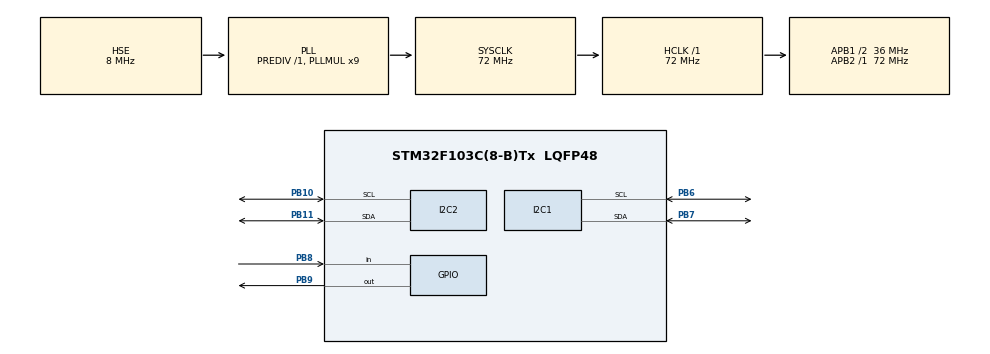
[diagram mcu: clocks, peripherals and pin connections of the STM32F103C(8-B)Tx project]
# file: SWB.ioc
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I2C1.I2C_Mode=I2C_Fast
I2C2.I2C_Mode=I2C_Fast
Mcu.Family=STM32F1
Mcu.Name=STM32F103C(8-B)Tx
Mcu.Package=LQFP48
NVIC.PriorityGroup=NVIC_PRIORITYGROUP_4
PA13.Mode=Serial_Wire
PA13.Signal=SYS_JTMS-SWDIO
PA14.Mode=Serial_Wire
PA14.Signal=SYS_JTCK-SWCLK
PB10.Mode=I2C
PB10.Signal=I2C2_SCL
PB11.Mode=I2C
PB11.Signal=I2C2_SDA
PB6.Mode=I2C
PB6.Signal=I2C1_SCL
PB7.Mode=I2C
PB7.Signal=I2C1_SDA
PB8.Signal=GPIO_Input
PB9.Signal=GPIO_Output
PD0-OSC_IN.Mode=HSE-External-Oscillator
PD0-OSC_IN.Signal=RCC_OSC_IN
PD1-OSC_OUT.Mode=HSE-External-Oscillator
PD1-OSC_OUT.Signal=RCC_OSC_OUT
ProjectManager.HeapSize=0x200
ProjectManager.StackSize=0x400
ProjectManager.TargetToolchain=STM32CubeIDE
RCC.AHBFreq_Value=72000000
RCC.APB1CLKDivider=RCC_HCLK_DIV2
RCC.APB1Freq_Value=36000000
RCC.APB1TimFreq_Value=72000000
RCC.APB2Freq_Value=72000000
RCC.APB2TimFreq_Value=72000000
RCC.HCLKFreq_Value=72000000
RCC.PLLMUL=RCC_PLL_MUL9
RCC.PLLSourceVirtual=RCC_PLLSOURCE_HSE
RCC.SYSCLKFreq_VALUE=72000000
RCC.SYSCLKSource=RCC_SYSCLKSOURCE_PLLCLK
RCC.USBFreq_Value=72000000
TIM2.Prescaler=71
VP_TIM2_VS_ClockSourceINT.Mode=Internal
board=custom

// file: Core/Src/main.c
/* USER CODE BEGIN Header */
/**
  ******************************************************************************
  * @file           : main.c
  * @brief          : Main program body
  ******************************************************************************
  * @attention
  *
  * Copyright (c) 2025 STMicroelectronics.
  * All rights reserved.
  *
  * This software is licensed under terms that can be found in the LICENSE file
  * in the root directory of this software component.
  * If no LICENSE file comes with this software, it is provided AS-IS.
  *
  ******************************************************************************
  */
/* USER CODE END Header */
#include "main.h"

/* USER CODE BEGIN Includes */
#include "i2c_lcd.h"
#include <stdio.h>   // để dùng sprintf
/* USER CODE END Includes */

/* USER CODE BEGIN PTD */
#define DS1307_I2C_ADDR 	0x68
#define DS1307_REG_SECOND 	0x00
#define DS1307_REG_MINUTE 	0x01
#define DS1307_REG_HOUR  	0x02
#define DS1307_REG_DOW    	0x03
#define DS1307_REG_DATE   	0x04
#define DS1307_REG_MONTH  	0x05
#define DS1307_REG_YEAR   	0x06
#define DS1307_REG_CONTROL 	0x07
#define DS1307_REG_UTC_HR	0x08
#define DS1307_REG_UTC_MIN	0x09
#define DS1307_REG_CENT    	0x10
#define DS1307_TIMEOUT		1000

typedef struct {
	uint8_t	sec;
	uint8_t min;
	uint8_t hour;
	uint8_t dow;
	uint8_t date;
	uint8_t month;
	uint16_t year;
}DS1307_STRUCT;

DS1307_STRUCT	ds1307;
/* USER CODE END PTD */

I2C_HandleTypeDef hi2c1;
I2C_HandleTypeDef hi2c2;

TIM_HandleTypeDef htim2;

/* USER CODE BEGIN PV */
I2C_LCD_HandleTypeDef lcd1;

int32_t last_weight_mg = 0;     // khối lượng lần đo trước (mg)
float   daily_total_ml = 0;     // tổng lượng nước trong ngày (ml)
uint8_t prev_date = 0;          // lưu ngày trước đó để phát hiện sang ngày mới
/* USER CODE END PV */

void SystemClock_Config(void);
static void MX_GPIO_Init(void);
static void MX_I2C1_Init(void);
static void MX_I2C2_Init(void);
static void MX_TIM2_Init(void);
/* USER CODE BEGIN PFP */
uint8_t DS1307_DecodeBCD(uint8_t bin);
uint8_t DS1307_EncodeBCD(uint8_t dec);
void DS1307_SetClockHalt(uint8_t halt);
void DS1307_SetRegByte(uint8_t regAddr, uint8_t val);
void DS1307_SetTimeZone(int8_t hr, uint8_t min);
uint8_t DS1307_GetClockHalt(void);
uint8_t DS1307_GetRegByte(uint8_t regAddr);
void DS1307_config();
void DS1307_gettime();
void DS1307_settime(uint8_t sec,uint8_t min,uint8_t hour_24mode,uint8_t dayOfWeek,uint8_t date,uint8_t month, uint16_t year);

/* USER CODE END PFP */

/* USER CODE BEGIN 0 */
#define DT_PIN GPIO_PIN_8
#define DT_PORT GPIOB
#define SCK_PIN GPIO_PIN_9
#define SCK_PORT GPIOB

uint32_t tare = 7831281;
float knownOriginal = 110000;  // in milli gram
float knownHX711 = 42386;
int weight;

void microDelay(uint16_t delay)
{
  __HAL_TIM_SET_COUNTER(&htim2, 0);
  while (__HAL_TIM_GET_COUNTER(&htim2) < delay);
}

int32_t getHX711(void)
{
  uint32_t data = 0;
  uint32_t startTime = HAL_GetTick();
  while(HAL_GPIO_ReadPin(DT_PORT, DT_PIN) == GPIO_PIN_SET)
  {
    if(HAL_GetTick() - startTime > 200)
      return 0;
  }
  for(int8_t len=0; len<24 ; len++)
  {
    HAL_GPIO_WritePin(SCK_PORT, SCK_PIN, GPIO_PIN_SET);
    microDelay(1);
    data = data << 1;
    HAL_GPIO_WritePin(SCK_PORT, SCK_PIN, GPIO_PIN_RESET);
    microDelay(1);
    if(HAL_GPIO_ReadPin(DT_PORT, DT_PIN) == GPIO_PIN_SET)
      data ++;
  }
  data = data ^ 0x800000;
  HAL_GPIO_WritePin(SCK_PORT, SCK_PIN, GPIO_PIN_SET);
  microDelay(1);
  HAL_GPIO_WritePin(SCK_PORT, SCK_PIN, GPIO_PIN_RESET);
  microDelay(1);
  return data;
}

int weigh()
{
  int32_t  total = 0;
  int32_t  samples = 50;
  int milligram;
  float coefficient;
  for(uint16_t i=0 ; i<samples ; i++)
  {
      total += getHX711();
  }
  int32_t average = (int32_t)(total / samples);
  coefficient = knownOriginal / knownHX711;
  milligram = (int)(average-tare)*coefficient;
  return milligram;
}
/* USER CODE END 0 */

int main(void)
{

  /* MCU Configuration--------------------------------------------------------*/

  /* Reset of all peripherals, Initializes the Flash interface and the Systick. */
  HAL_Init();

  /* Configure the system clock */
  SystemClock_Config();

  /* Initialize all configured peripherals */
  MX_GPIO_Init();
  MX_I2C1_Init();
  MX_I2C2_Init();
  MX_TIM2_Init();
  /* USER CODE BEGIN 2 */
  lcd1.hi2c = &hi2c1;
  lcd1.address = 0x4E;
  lcd_init(&lcd1);

  lcd_clear(&lcd1);
  lcd_puts(&lcd1, "STM32 I2C LCD");
  lcd_gotoxy(&lcd1, 0, 1);
  lcd_puts(&lcd1, "Library Demo");
  DS1307_config();
 // DS1307_settime(0, 59, 23, 4,29, 2, 2024); // 23:59:30 t4, 29/2/2024

  HAL_TIM_Base_Start(&htim2);
  HAL_GPIO_WritePin(SCK_PORT, SCK_PIN, GPIO_PIN_SET);
  HAL_Delay(10);
  HAL_GPIO_WritePin(SCK_PORT, SCK_PIN, GPIO_PIN_RESET);
  HAL_Delay(10);

  // Đọc lần đầu để lấy mốc ban đầu
    DS1307_gettime();
    weight = weigh();          // mg
    last_weight_mg = weight;   // lưu mốc ban đầu
    prev_date = ds1307.date;   // lưu ngày hiện tại
  /* USER CODE END 2 */

  /* Infinite loop */
  /* USER CODE BEGIN WHILE */
  while (1)
  {
	  // 1. Đọc thời gian từ RTC
	      DS1307_gettime();

	      // 2. Đọc loadcell (mg)
	      int32_t current_weight_mg = weigh();

	      // 3. Kiểm tra sang ngày mới -> reset tổng
	      if (ds1307.date != prev_date)
	      {
	          daily_total_ml = 0;        // reset tổng nước trong ngày
	          prev_date = ds1307.date;   // cập nhật lại ngày
	      }

	      // 4. Tính lượng nước đã uống (dựa vào giảm khối lượng bình)
	      int32_t diff = last_weight_mg - current_weight_mg;
	      if (diff > 0)
	      {
	          // diff > 0: nước trong bình giảm -> đã uống thêm
	          daily_total_ml += (float)diff / 1000.0f; // mg -> ml
	      }
	      // cập nhật lại mốc
	      last_weight_mg = current_weight_mg;

	      // 5. Thể tích hiện tại trong bình (ml) và tổng trong ngày (ml)
	      int current_volume_ml = current_weight_mg / 1000; // mg -> ml
	      int daily_ml          = (int)daily_total_ml;

	      // 6. Hiển thị lên LCD
	      lcd_clear(&lcd1);

	      char line1[20];
	      char line2[20];

	      // Dòng 1: hh:mm:ss (RTC)
	      sprintf(line1, "%02d:%02d:%02d",
	              ds1307.hour, ds1307.min, ds1307.sec);

	      // Dòng 2: binh: Xxxml tong: Yyyml
	      // Lưu ý LCD 16x2, nếu số lớn có thể bị tràn, bạn có thể rút gọn format lại
	      sprintf(line2, "B:%3d T:%3dml", current_volume_ml, daily_ml);

	      lcd_gotoxy(&lcd1, 0, 0);
	      lcd_puts(&lcd1, line1);

	      lcd_gotoxy(&lcd1, 0, 1);
	      lcd_puts(&lcd1, line2);

	      // Delay 1 giây -> RTC nhảy từng giây, LCD update theo
	      HAL_Delay(100);
  }
  /* USER CODE END 3 */
}

void SystemClock_Config(void)
{
  RCC_OscInitTypeDef RCC_OscInitStruct = {0};
  RCC_ClkInitTypeDef RCC_ClkInitStruct = {0};

  /** Initializes the RCC Oscillators according to the specified parameters
  * in the RCC_OscInitTypeDef structure.
  */
  RCC_OscInitStruct.OscillatorType = RCC_OSCILLATORTYPE_HSE;
  RCC_OscInitStruct.HSEState = RCC_HSE_ON;
  RCC_OscInitStruct.HSEPredivValue = RCC_HSE_PREDIV_DIV1;
  RCC_OscInitStruct.HSIState = RCC_HSI_ON;
  RCC_OscInitStruct.PLL.PLLState = RCC_PLL_ON;
  RCC_OscInitStruct.PLL.PLLSource = RCC_PLLSOURCE_HSE;
  RCC_OscInitStruct.PLL.PLLMUL = RCC_PLL_MUL9;
  if (HAL_RCC_OscConfig(&RCC_OscInitStruct) != HAL_OK)
  {
    Error_Handler();
  }

  /** Initializes the CPU, AHB and APB buses clocks
  */
  RCC_ClkInitStruct.ClockType = RCC_CLOCKTYPE_HCLK|RCC_CLOCKTYPE_SYSCLK
                              |RCC_CLOCKTYPE_PCLK1|RCC_CLOCKTYPE_PCLK2;
  RCC_ClkInitStruct.SYSCLKSource = RCC_SYSCLKSOURCE_PLLCLK;
  RCC_ClkInitStruct.AHBCLKDivider = RCC_SYSCLK_DIV1;
  RCC_ClkInitStruct.APB1CLKDivider = RCC_HCLK_DIV2;
  RCC_ClkInitStruct.APB2CLKDivider = RCC_HCLK_DIV1;

  if (HAL_RCC_ClockConfig(&RCC_ClkInitStruct, FLASH_LATENCY_2) != HAL_OK)
  {
    Error_Handler();
  }
}

static void MX_I2C1_Init(void)
{

  hi2c1.Instance = I2C1;
  hi2c1.Init.ClockSpeed = 400000;
  hi2c1.Init.DutyCycle = I2C_DUTYCYCLE_2;
  hi2c1.Init.OwnAddress1 = 0;
  hi2c1.Init.AddressingMode = I2C_ADDRESSINGMODE_7BIT;
  hi2c1.Init.DualAddressMode = I2C_DUALADDRESS_DISABLE;
  hi2c1.Init.OwnAddress2 = 0;
  hi2c1.Init.GeneralCallMode = I2C_GENERALCALL_DISABLE;
  hi2c1.Init.NoStretchMode = I2C_NOSTRETCH_DISABLE;
  if (HAL_I2C_Init(&hi2c1) != HAL_OK)
  {
    Error_Handler();
  }

}

static void MX_I2C2_Init(void)
{

  hi2c2.Instance = I2C2;
  hi2c2.Init.ClockSpeed = 400000;
  hi2c2.Init.DutyCycle = I2C_DUTYCYCLE_2;
  hi2c2.Init.OwnAddress1 = 0;
  hi2c2.Init.AddressingMode = I2C_ADDRESSINGMODE_7BIT;
  hi2c2.Init.DualAddressMode = I2C_DUALADDRESS_DISABLE;
  hi2c2.Init.OwnAddress2 = 0;
  hi2c2.Init.GeneralCallMode = I2C_GENERALCALL_DISABLE;
  hi2c2.Init.NoStretchMode = I2C_NOSTRETCH_DISABLE;
  if (HAL_I2C_Init(&hi2c2) != HAL_OK)
  {
    Error_Handler();
  }

}

static void MX_TIM2_Init(void)
{

  TIM_ClockConfigTypeDef sClockSourceConfig = {0};
  TIM_MasterConfigTypeDef sMasterConfig = {0};

  htim2.Instance = TIM2;
  htim2.Init.Prescaler = 71;
  htim2.Init.CounterMode = TIM_COUNTERMODE_UP;
  htim2.Init.Period = 65535;
  htim2.Init.ClockDivision = TIM_CLOCKDIVISION_DIV1;
  htim2.Init.AutoReloadPreload = TIM_AUTORELOAD_PRELOAD_DISABLE;
  if (HAL_TIM_Base_Init(&htim2) != HAL_OK)
  {
    Error_Handler();
  }
  sClockSourceConfig.ClockSource = TIM_CLOCKSOURCE_INTERNAL;
  if (HAL_TIM_ConfigClockSource(&htim2, &sClockSourceConfig) != HAL_OK)
  {
    Error_Handler();
  }
  sMasterConfig.MasterOutputTrigger = TIM_TRGO_RESET;
  sMasterConfig.MasterSlaveMode = TIM_MASTERSLAVEMODE_DISABLE;
  if (HAL_TIMEx_MasterConfigSynchronization(&htim2, &sMasterConfig) != HAL_OK)
  {
    Error_Handler();
  }

}

static void MX_GPIO_Init(void)
{
  GPIO_InitTypeDef GPIO_InitStruct = {0};

  /* GPIO Ports Clock Enable */
  __HAL_RCC_GPIOD_CLK_ENABLE();
  __HAL_RCC_GPIOB_CLK_ENABLE();
  __HAL_RCC_GPIOA_CLK_ENABLE();

  /*Configure GPIO pin Output Level */
  HAL_GPIO_WritePin(GPIOB, GPIO_PIN_9, GPIO_PIN_RESET);

  /*Configure GPIO pin : PB8 */
  GPIO_InitStruct.Pin = GPIO_PIN_8;
  GPIO_InitStruct.Mode = GPIO_MODE_INPUT;
  GPIO_InitStruct.Pull = GPIO_NOPULL;
  HAL_GPIO_Init(GPIOB, &GPIO_InitStruct);

  /*Configure GPIO pin : PB9 */
  GPIO_InitStruct.Pin = GPIO_PIN_9;
  GPIO_InitStruct.Mode = GPIO_MODE_OUTPUT_PP;
  GPIO_InitStruct.Pull = GPIO_NOPULL;
  GPIO_InitStruct.Speed = GPIO_SPEED_FREQ_LOW;
  HAL_GPIO_Init(GPIOB, &GPIO_InitStruct);

}

/* USER CODE BEGIN 4 */
void DS1307_gettime(){
	uint16_t cen;
	ds1307.sec=DS1307_DecodeBCD(DS1307_GetRegByte(DS1307_REG_SECOND) & 0x7f);
	ds1307.min=DS1307_DecodeBCD(DS1307_GetRegByte(DS1307_REG_MINUTE));
	ds1307.hour=DS1307_DecodeBCD(DS1307_GetRegByte(DS1307_REG_HOUR) & 0x3f);
	ds1307.dow=DS1307_DecodeBCD(DS1307_GetRegByte(DS1307_REG_DOW));
	ds1307.date=DS1307_DecodeBCD(DS1307_GetRegByte(DS1307_REG_DATE));
	ds1307.month=DS1307_DecodeBCD(DS1307_GetRegByte(DS1307_REG_MONTH));
	cen = DS1307_GetRegByte(DS1307_REG_CENT) * 100;
	ds1307.year=DS1307_DecodeBCD(DS1307_GetRegByte(DS1307_REG_YEAR)) + cen;

}
void DS1307_SetRegByte(uint8_t regAddr, uint8_t val) {
	uint8_t bytes[2] = { regAddr, val };
	HAL_I2C_Master_Transmit(&hi2c2, DS1307_I2C_ADDR << 1, bytes, 2, DS1307_TIMEOUT);
}
uint8_t DS1307_GetClockHalt(void) {
	return (DS1307_GetRegByte(DS1307_REG_SECOND) & 0x80) >> 7;
}

void DS1307_settime(uint8_t sec,uint8_t min,uint8_t hour_24mode,uint8_t dayOfWeek,uint8_t date,uint8_t month, uint16_t year)
{
	uint8_t ch = DS1307_GetClockHalt() << 7;

	DS1307_SetRegByte(DS1307_REG_SECOND, DS1307_EncodeBCD(sec | DS1307_GetClockHalt()));
	DS1307_SetRegByte(DS1307_REG_MINUTE, DS1307_EncodeBCD(min));
	DS1307_SetRegByte(DS1307_REG_HOUR, DS1307_EncodeBCD(hour_24mode & 0x3f));//hour_24mode Hour in 24h format, 0 to 23.
	DS1307_SetRegByte(DS1307_REG_DOW, DS1307_EncodeBCD(dayOfWeek));//dayOfWeek Days since last Sunday, 0 to 6.
	DS1307_SetRegByte(DS1307_REG_DATE, DS1307_EncodeBCD(date));//date Day of month, 1 to 31.
	DS1307_SetRegByte(DS1307_REG_MONTH, DS1307_EncodeBCD(month));//month Month, 1 to 12.
	DS1307_SetRegByte(DS1307_REG_CENT, year / 100);
	DS1307_SetRegByte(DS1307_REG_YEAR, DS1307_EncodeBCD(year % 100));//2000 to 2099.

}
uint8_t DS1307_GetRegByte(uint8_t regAddr) {
	uint8_t val;
	HAL_I2C_Master_Transmit(&hi2c2, DS1307_I2C_ADDR << 1, &regAddr, 1, DS1307_TIMEOUT);
	HAL_I2C_Master_Receive(&hi2c2, DS1307_I2C_ADDR << 1, &val, 1, DS1307_TIMEOUT);
	return val;
}
void DS1307_SetClockHalt(uint8_t halt) {
	uint8_t ch = (halt ? 1 << 7 : 0);
	DS1307_SetRegByte(DS1307_REG_SECOND, ch | (DS1307_GetRegByte(DS1307_REG_SECOND) & 0x7f));
}
/**
 * @brief Sets UTC offset.
 * @note  UTC offset is not updated automatically.
 * @param hr UTC hour offset, -12 to 12.
 * @param min UTC minute offset, 0 to 59.
 */
void DS1307_SetTimeZone(int8_t hr, uint8_t min) {
	DS1307_SetRegByte(DS1307_REG_UTC_HR, hr);
	DS1307_SetRegByte(DS1307_REG_UTC_MIN, min);
}
void DS1307_config(){
	DS1307_SetClockHalt(0);
	DS1307_SetTimeZone(+8, 00);
}
uint8_t DS1307_DecodeBCD(uint8_t bin) {
	return (((bin & 0xf0) >> 4) * 10) + (bin & 0x0f);
}

uint8_t DS1307_EncodeBCD(uint8_t dec) {
	return (dec % 10 + ((dec / 10) << 4));
}
/* USER CODE END 4 */

void Error_Handler(void)
{
  __disable_irq();
  while (1)
  {
  }
}
